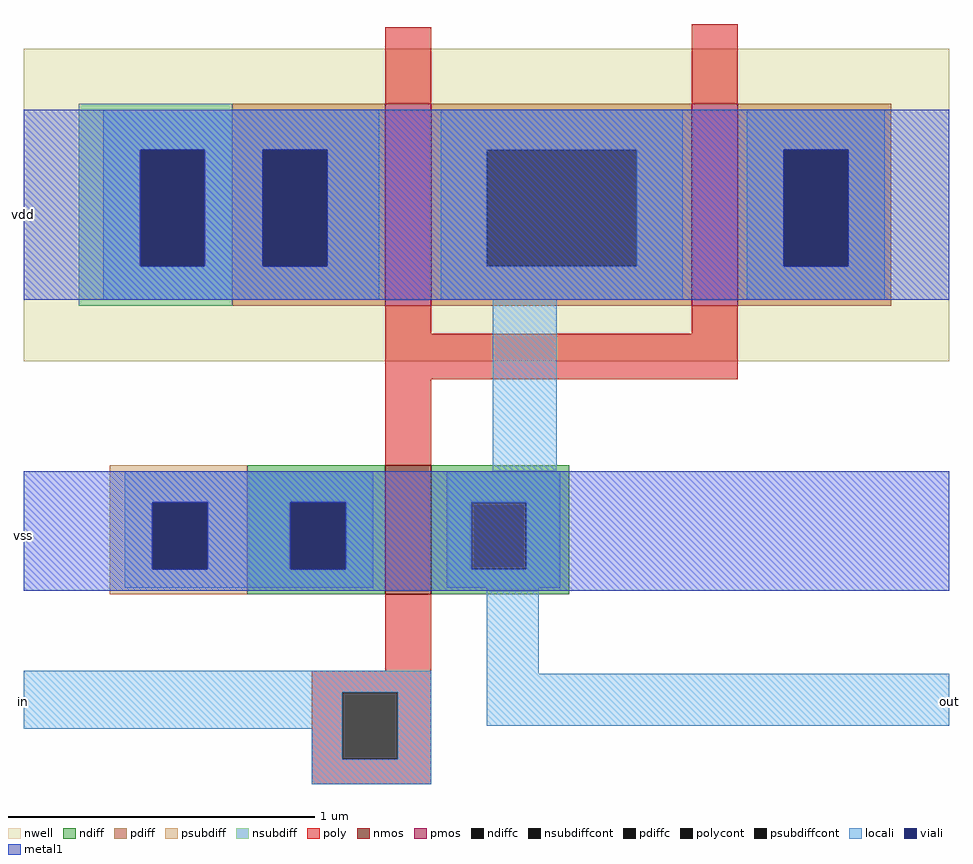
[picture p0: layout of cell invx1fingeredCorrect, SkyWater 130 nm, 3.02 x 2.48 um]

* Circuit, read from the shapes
.subckt invx1fingeredCorrect in out vdd vss
XM1 out in vss vss sky130_fd_pr__nfet_01v8 w=0.42 l=0.15
XM2 out in vdd vdd sky130_fd_pr__pfet_01v8 w=0.66 l=0.15 m=2
.ends

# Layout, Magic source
magic
tech sky130A
<< nwell >>
rect -147 98 155 200
<< nmos >>
rect -29 22 -14 64
<< pmos >>
rect -29 116 -14 182
rect 71 116 86 182
<< ndiff >>
rect -74 52 -29 64
rect -74 30 -60 52
rect -42 30 -29 52
rect -74 22 -29 30
rect -14 52 31 64
rect -14 30 -1 52
rect 17 30 31 52
rect -14 22 31 30
<< pdiff >>
rect -79 167 -29 182
rect -79 129 -69 167
rect -48 129 -29 167
rect -79 116 -29 129
rect -14 167 71 182
rect -14 129 4 167
rect 53 129 71 167
rect -14 116 71 129
rect 86 167 136 182
rect 86 129 101 167
rect 122 129 136 167
rect 86 116 136 129
<< ndiffc >>
rect -60 30 -42 52
rect -1 30 17 52
<< pdiffc >>
rect -69 129 -48 167
rect 4 129 53 167
rect 101 129 122 167
<< psubdiff >>
rect -119 52 -74 64
rect -119 30 -105 52
rect -87 30 -74 52
rect -119 22 -74 30
<< nsubdiff >>
rect -129 167 -79 182
rect -129 129 -109 167
rect -88 129 -79 167
rect -129 116 -79 129
<< psubdiffcont >>
rect -105 30 -87 52
<< nsubdiffcont >>
rect -109 129 -88 167
<< poly >>
rect -29 182 -14 207
rect 71 182 86 208
rect -29 107 -14 116
rect 71 107 86 116
rect -29 92 86 107
rect -29 64 -14 92
rect -29 -3 -14 22
rect -53 -10 -14 -3
rect -53 -32 -43 -10
rect -25 -32 -14 -10
rect -53 -40 -14 -32
<< polycont >>
rect -43 -32 -25 -10
<< locali >>
rect -121 167 -31 180
rect -121 129 -109 167
rect -88 129 -69 167
rect -48 129 -31 167
rect -121 118 -31 129
rect -11 167 68 180
rect -11 129 4 167
rect 53 129 68 167
rect -11 118 68 129
rect 89 167 134 180
rect 89 129 101 167
rect 122 129 134 167
rect 89 118 134 129
rect 6 62 27 118
rect -114 52 -33 62
rect -114 30 -105 52
rect -87 30 -60 52
rect -42 30 -33 52
rect -114 24 -33 30
rect -9 52 28 62
rect -9 30 -1 52
rect 17 30 28 52
rect -9 24 28 30
rect -147 -10 -14 -3
rect -147 -22 -43 -10
rect -53 -32 -43 -22
rect -25 -32 -14 -10
rect 4 -4 21 24
rect 4 -21 155 -4
rect -53 -40 -14 -32
<< viali >>
rect -109 129 -88 167
rect -69 129 -48 167
rect 101 129 122 167
rect -105 30 -87 52
rect -60 30 -42 52
<< metal1 >>
rect -147 167 155 180
rect -147 129 -109 167
rect -88 129 -69 167
rect -48 129 101 167
rect 122 129 155 167
rect -147 118 155 129
rect -147 52 155 62
rect -147 30 -105 52
rect -87 30 -60 52
rect -42 30 155 52
rect -147 23 155 30
<< labels >>
rlabel locali -147 -13 -147 -13 7 in
port 1 w
rlabel locali 155 -13 155 -13 3 out
port 2 e
rlabel metal1 -147 146 -147 146 7 vdd
port 3 w
rlabel metal1 -147 41 -147 41 7 vss
port 4 w
<< end >>
